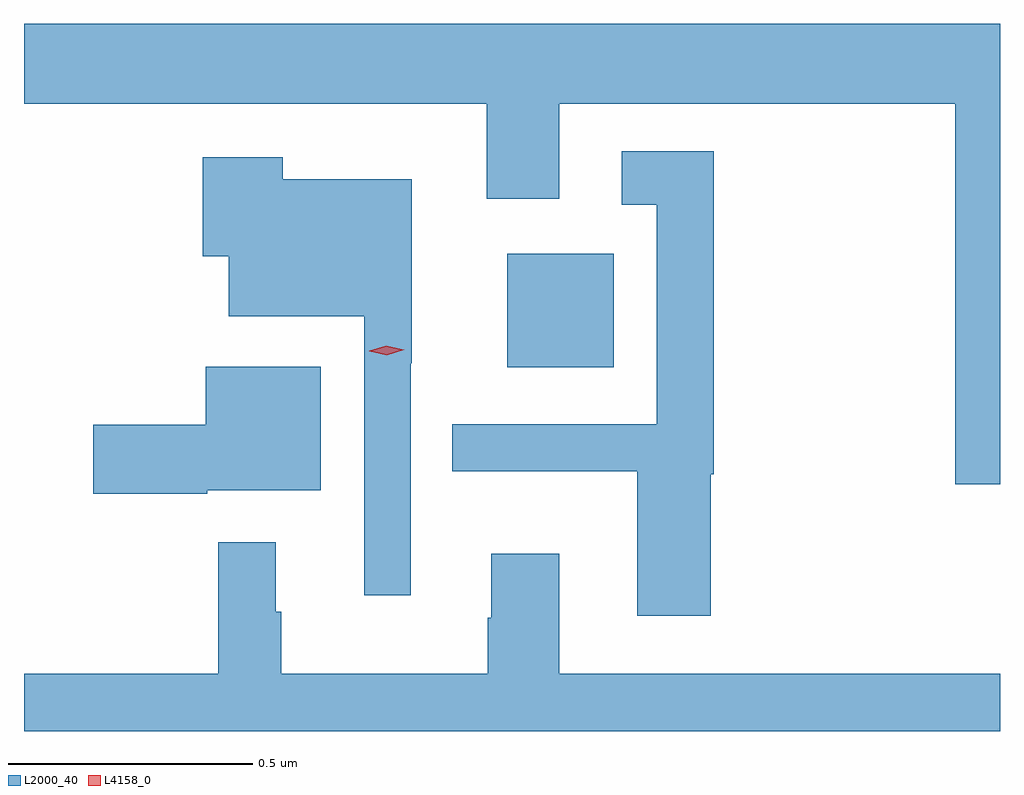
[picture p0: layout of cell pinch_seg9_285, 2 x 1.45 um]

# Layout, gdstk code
import gdstk
lib = gdstk.Library(unit=1e-6, precision=1e-09)
def R(c, l, rs):  # rectangles x0, y0, x1, y1
    for r in rs: c.add(gdstk.rectangle(r[:2], r[2:], *l))
def P(c, l, *ps):  # polygons
    for p in ps: c.add(gdstk.Polygon(p, *l))
L2000_40 = (2000, 40)
L4158_0 = (4158, 0)

pinch_seg9_285 = lib.new_cell('pinch_seg9_285')
R(pinch_seg9_285, L2000_40, [(420.164,1166.576,420.382,1166.809)])
P(pinch_seg9_285, L2000_40, [(421.174,1167.28),(419.174,1167.28),(419.174,1167.116),(420.122,1167.116),(420.122,1166.922),(420.271,1166.922),(420.271,1167.116),(421.082,1167.116),(421.082,1166.337),(421.174,1166.337)],
  [(420.581,1166.357),(420.587,1166.357),(420.587,1167.019),(420.399,1167.019),(420.399,1166.909),(420.471,1166.909),(420.471,1166.46),(420.052,1166.46),(420.052,1166.363),(420.431,1166.363),(420.431,1166.067),(420.581,1166.067)],
  [(419.967,1166.585),(419.969,1166.585),(419.969,1166.962),(419.704,1166.962),(419.704,1167.007),(419.54,1167.007),(419.54,1166.804),(419.594,1166.804),(419.594,1166.681),(419.871,1166.681),(419.871,1166.109),(419.967,1166.109)],
  [(419.55,1166.324),(419.782,1166.324),(419.782,1166.578),(419.546,1166.578),(419.546,1166.459),(419.316,1166.459),(419.316,1166.317),(419.55,1166.317)],
  [(421.174,1165.948),(420.271,1165.948),(420.271,1166.194),(420.131,1166.194),(420.131,1166.063),(420.124,1166.063),(420.124,1165.948),(419.701,1165.948),(419.701,1166.075),(419.69,1166.075),(419.69,1166.218),(419.572,1166.218),(419.572,1165.948),(419.174,1165.948),(419.174,1165.831),(421.174,1165.831)])
P(pinch_seg9_285, L4158_0, [(419.917,1166.601),(419.881,1166.609),(419.881,1166.609),(419.881,1166.61),(419.916,1166.621),(419.953,1166.612),(419.953,1166.612),(419.953,1166.612)])

lib.write_gds('pinch_seg9_285.gds')
